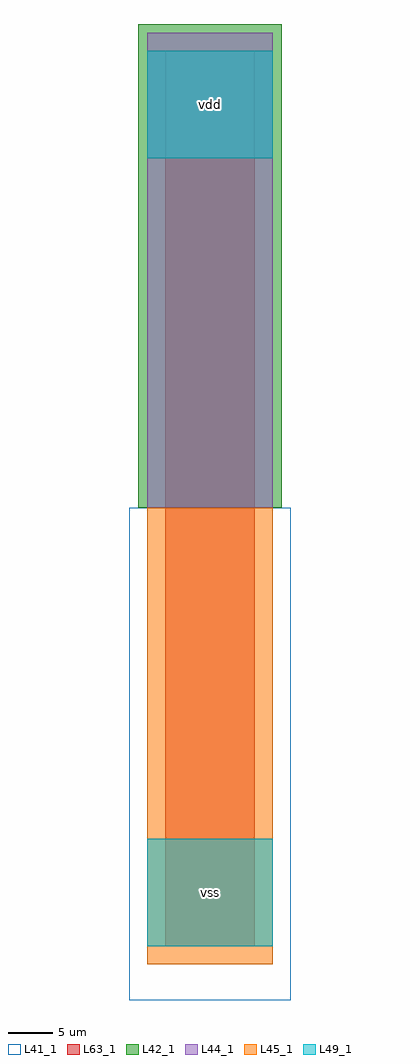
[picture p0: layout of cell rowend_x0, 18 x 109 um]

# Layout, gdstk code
import gdstk
lib = gdstk.Library(unit=1e-6, precision=1e-09)
def R(c, l, rs):  # rectangles x0, y0, x1, y1
    for r in rs: c.add(gdstk.rectangle(r[:2], r[2:], *l))
L41_1 = (41, 1)
L42_1 = (42, 1)
L44_1 = (44, 1)
L45_1 = (45, 1)
L49_1 = (49, 1)
L63_1 = (63, 1)

rowend_x0 = lib.new_cell('rowend_x0')
R(rowend_x0, L41_1, [(-4,-6,14,49), (-3,-3,13,49)])
R(rowend_x0, L42_1, [(-3,49,13,103)])
R(rowend_x0, L44_1, [(-2,49,12,102)])
R(rowend_x0, L45_1, [(-2,-2,12,49)])
R(rowend_x0, L49_1, [(-2,0,12,12), (-2,88,12,100)])
R(rowend_x0, L63_1, [(0,0,10,100)])
rowend_x0.add(gdstk.Label('vss', (5,6), layer=49, texttype=1))
rowend_x0.add(gdstk.Label('vss', (5,6), layer=49, texttype=1))
rowend_x0.add(gdstk.Label('vdd', (5,94), layer=49, texttype=1))
rowend_x0.add(gdstk.Label('vdd', (5,94), layer=49, texttype=1))

lib.write_gds('rowend_x0.gds')
